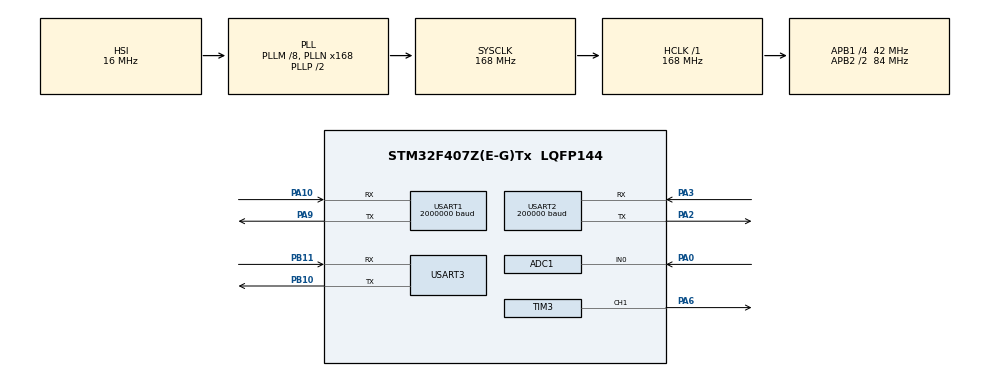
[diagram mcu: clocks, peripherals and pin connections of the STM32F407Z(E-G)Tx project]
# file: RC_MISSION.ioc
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ADC1.Channel-0\#ChannelRegularConversion=ADC_CHANNEL_0
ADC1.DMAContinuousRequests=ENABLE
ADC1.NbrOfConversionFlag=1
ADC1.Rank-0\#ChannelRegularConversion=1
ADC1.SamplingTime-0\#ChannelRegularConversion=ADC_SAMPLETIME_3CYCLES
ADC1.master=1
Dma.ADC1.0.Direction=DMA_PERIPH_TO_MEMORY
Dma.ADC1.0.FIFOMode=DMA_FIFOMODE_DISABLE
Dma.ADC1.0.Instance=DMA2_Stream0
Dma.ADC1.0.MemDataAlignment=DMA_MDATAALIGN_BYTE
Dma.ADC1.0.MemInc=DMA_MINC_ENABLE
Dma.ADC1.0.Mode=DMA_CIRCULAR
Dma.ADC1.0.PeriphDataAlignment=DMA_PDATAALIGN_BYTE
Dma.ADC1.0.PeriphInc=DMA_PINC_DISABLE
Dma.ADC1.0.Priority=DMA_PRIORITY_LOW
Dma.Request0=ADC1
Mcu.Family=STM32F4
Mcu.Name=STM32F407Z(E-G)Tx
Mcu.Package=LQFP144
NVIC.DMA2_Stream0_IRQn=true\:0\:0\:false\:false\:true\:false\:true\:true
NVIC.PriorityGroup=NVIC_PRIORITYGROUP_4
NVIC.TIM5_IRQn=true\:0\:0\:false\:false\:true\:true\:true\:true
PA0-WKUP.Signal=ADCx_IN0
PA10.Mode=Asynchronous
PA10.Signal=USART1_RX
PA13.Mode=Serial_Wire
PA13.Signal=SYS_JTMS-SWDIO
PA14.Mode=Serial_Wire
PA14.Signal=SYS_JTCK-SWCLK
PA2.Mode=Asynchronous
PA2.Signal=USART2_TX
PA3.Mode=Asynchronous
PA3.Signal=USART2_RX
PA6.Signal=S_TIM3_CH1
PA9.Mode=Asynchronous
PA9.Signal=USART1_TX
PB10.Mode=Asynchronous
PB10.Signal=USART3_TX
PB11.Mode=Asynchronous
PB11.Signal=USART3_RX
PH0-OSC_IN.Mode=HSE-External-Oscillator
PH0-OSC_IN.Signal=RCC_OSC_IN
PH1-OSC_OUT.Mode=HSE-External-Oscillator
PH1-OSC_OUT.Signal=RCC_OSC_OUT
ProjectManager.HeapSize=0x200
ProjectManager.StackSize=0x400
ProjectManager.TargetToolchain=STM32CubeIDE
RCC.48MHZClocksFreq_Value=84000000
RCC.AHBFreq_Value=168000000
RCC.APB1CLKDivider=RCC_HCLK_DIV4
RCC.APB1Freq_Value=42000000
RCC.APB1TimFreq_Value=84000000
RCC.APB2CLKDivider=RCC_HCLK_DIV2
RCC.APB2Freq_Value=84000000
RCC.APB2TimFreq_Value=168000000
RCC.CortexFreq_Value=168000000
RCC.HCLKFreq_Value=168000000
RCC.HSE_VALUE=25000000
RCC.HSI_VALUE=16000000
RCC.LSE_VALUE=32768
RCC.PLLM=8
RCC.PLLN=168
RCC.SYSCLKFreq_VALUE=168000000
RCC.SYSCLKSource=RCC_SYSCLKSOURCE_PLLCLK
RCC.VCOOutputFreq_Value=336000000
SH.ADCx_IN0.0=ADC1_IN0,IN0
SH.S_TIM3_CH1.0=TIM3_CH1,PWM Generation1 CH1
TIM3.Channel-PWM\ Generation1\ CH1=TIM_CHANNEL_1
TIM3.Period=100-1
TIM3.Prescaler=71
TIM3.Pulse-PWM\ Generation1\ CH1=50
TIM5.Period=2800-1
TIM5.Prescaler=0
USART1.BaudRate=2000000
USART1.VirtualMode=VM_ASYNC
USART2.BaudRate=200000
USART2.VirtualMode=VM_ASYNC
USART3.VirtualMode=VM_ASYNC
VP_TIM3_VS_ClockSourceINT.Mode=Internal
VP_TIM5_VS_ClockSourceINT.Mode=Internal
board=custom

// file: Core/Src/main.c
/* USER CODE BEGIN Header */
/**
  ******************************************************************************
  * @file           : main.c
  * @brief          : Main program body
  ******************************************************************************
  * @attention
  *
  * Copyright (c) 2025 STMicroelectronics.
  * All rights reserved.
  *
  * This software is licensed under terms that can be found in the LICENSE file
  * in the root directory of this software component.
  * If no LICENSE file comes with this software, it is provided AS-IS.
  *
  ******************************************************************************
  * 引脚备注！！
  * （以下为呼吸灯相关引脚说明）
  * PA6 TIM3 对应pwm的呼吸灯
  *
  * （以下为ADC测量电压相关引脚说明
  * PA2  USART2 RX  对应电压测量输出 波特�?20000
  * PA3  USART2 TX  对应电压测量输出 波特�?20000
  * TIM5 用于全局中断，传输电�?
  * PA0 ADC1 IN0 对应电压测量输入
  *
  * （以下为ADC测量电压相关引脚说明
  * PA9  USART1 RX  对应报文输入，开启中�?
  * PA10 USART1 TX  对应报文输入，开启中�?
  * PB10 USART3 RX  对于频率的测量的输出
  * PB11 USART3 TX  对于频率的测量的输出
  *
  *
  */

/* USER CODE END Header */
#include "main.h"
#include "adc.h"
#include "dma.h"
#include "tim.h"
#include "usart.h"
#include "gpio.h"

/* USER CODE BEGIN Includes */
#include "System.h"
#include "stdio.h"
#include "string.h"
/* USER CODE END Includes */

/* USER CODE BEGIN PD */
#define Default 0;
/* USER CODE END PD */

/* USER CODE BEGIN PV */
uint16_t ADC_VOLTAGE_VALUE = Default ;//把函数内部的变量在main里设定，以防万一
/* USER CODE END PV */

void SystemClock_Config(void);

int main(void)
{

  /* MCU Configuration--------------------------------------------------------*/

  /* Reset of all peripherals, Initializes the Flash interface and the Systick. */
  HAL_Init();

  /* USER CODE BEGIN Init */
    Light_init();//完成呼吸灯初始化，参见system.h
  /* USER CODE END Init */

  /* Configure the system clock */
  SystemClock_Config();

  /* Initialize all configured peripherals */
  MX_GPIO_Init();
  MX_DMA_Init();
  MX_TIM3_Init();
  MX_ADC1_Init();
  MX_USART1_UART_Init();
  MX_TIM5_Init();
  MX_USART2_UART_Init();
  MX_USART3_UART_Init();
  /* USER CODE BEGIN 2 */
  HAL_TIM_Base_Start_IT(&htim5);//�???启tim
  /* USER CODE END 2 */

  /* Infinite loop */
  while (1)
  {

  }
}

void SystemClock_Config(void)
{
  RCC_OscInitTypeDef RCC_OscInitStruct = {0};
  RCC_ClkInitTypeDef RCC_ClkInitStruct = {0};

  /** Configure the main internal regulator output voltage
  */
  __HAL_RCC_PWR_CLK_ENABLE();
  __HAL_PWR_VOLTAGESCALING_CONFIG(PWR_REGULATOR_VOLTAGE_SCALE1);

  /** Initializes the RCC Oscillators according to the specified parameters
  * in the RCC_OscInitTypeDef structure.
  */
  RCC_OscInitStruct.OscillatorType = RCC_OSCILLATORTYPE_HSI;
  RCC_OscInitStruct.HSIState = RCC_HSI_ON;
  RCC_OscInitStruct.HSICalibrationValue = RCC_HSICALIBRATION_DEFAULT;
  RCC_OscInitStruct.PLL.PLLState = RCC_PLL_ON;
  RCC_OscInitStruct.PLL.PLLSource = RCC_PLLSOURCE_HSI;
  RCC_OscInitStruct.PLL.PLLM = 8;
  RCC_OscInitStruct.PLL.PLLN = 168;
  RCC_OscInitStruct.PLL.PLLP = RCC_PLLP_DIV2;
  RCC_OscInitStruct.PLL.PLLQ = 4;
  if (HAL_RCC_OscConfig(&RCC_OscInitStruct) != HAL_OK)
  {
    Error_Handler();
  }

  /** Initializes the CPU, AHB and APB buses clocks
  */
  RCC_ClkInitStruct.ClockType = RCC_CLOCKTYPE_HCLK|RCC_CLOCKTYPE_SYSCLK
                              |RCC_CLOCKTYPE_PCLK1|RCC_CLOCKTYPE_PCLK2;
  RCC_ClkInitStruct.SYSCLKSource = RCC_SYSCLKSOURCE_PLLCLK;
  RCC_ClkInitStruct.AHBCLKDivider = RCC_SYSCLK_DIV1;
  RCC_ClkInitStruct.APB1CLKDivider = RCC_HCLK_DIV4;
  RCC_ClkInitStruct.APB2CLKDivider = RCC_HCLK_DIV2;

  if (HAL_RCC_ClockConfig(&RCC_ClkInitStruct, FLASH_LATENCY_5) != HAL_OK)
  {
    Error_Handler();
  }
}

/* USER CODE BEGIN 4 */
#ifdef __GNUC__
/* With GCC, small printf (option LD Linker->Libraries->Small printf set to 'Yes') calls __io_putchar() */
/**
 * @brief  重定向printf函数输出到UART1 (GCC/CubeIDE编译器版�???)
 * @note   此实现将printf输出重定向到UART1，波特率�???2Mbps
 *         支持在CubeIDE中使用printf进行调试输出
 * @param  ch: 要发送的字符
 * @retval 发�?�的字符
 */
int __io_putchar(int ch)
{
  HAL_UART_Transmit(&huart2, (uint8_t *)&ch, 1, HAL_MAX_DELAY);
  return ch;
}
#else
/* 为Keil编译器重定向fputc函数 */
/**
 * @brief  重定向printf函数输出到UART1 (Keil MDK编译器版�???)
 * @note   此实现将printf输出重定向到UART1，波特率�???2Mbps
 *         支持在Keil中使用printf进行调试输出
 * @param  ch: 要发送的字符
 * @param  f: 文件指针(未使�???)
 * @retval 发�?�的字符
 */
int fputc(int ch, FILE *f)
{
  HAL_UART_Transmit(&huart2, (uint8_t *)&ch, 1, HAL_MAX_DELAY);
  return ch;
}
#endif
/* USER CODE END 4 */

void Error_Handler(void)
{
  __disable_irq();
  while (1)
  {
  }
}
